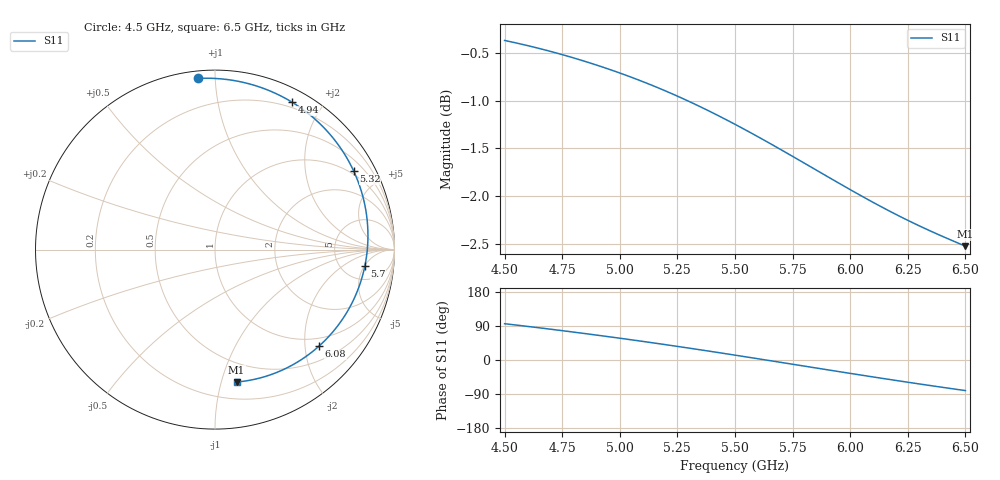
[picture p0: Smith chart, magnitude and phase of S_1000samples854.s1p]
! TOUCHSTONE file generated by CST MICROWAVE STUDIO
! Date and time: Sat Oct 29 14:51:50 2022
! Project name: L.cst
! Parameters = {Di=1.27; Epsilon_r=1.56; InnerDiameter=1.27; Length=2; Lf=10; Lg=60; OuterConductorThickness=0.2921; OuterDiameter=3.6; Wf=3; Wp=41.2; de=1.5; df=6.8; g=0.8; gx=1.64299; gy=4.6767; h=2.34; hf=1.524; px=8.68373; py=11.9519; w=9.7; wx=7.04075; wy=7.27522}
! Header version: 2018
! Port assignment regex: !\s*Touchstone port\s*([0-9]+)\s*=\s*(CST MWS port|CST DS port)\s*([0-9]+|Zmin|Zmax)\s*\(\"(.*)\"\)(\s*mode\s*([0-9]+))?.*
! Touchstone port assignment:
! Touchstone port 1 = CST MWS port 1 ("")
# GHz S DB R 50
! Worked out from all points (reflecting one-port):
!   101 points, 4.5 GHz to 6.5 GHz, reference 50 ohm
!   lowest |S11| = -2.5 dB at 6.5 GHz (marker M1), VSWR 6.92, Z = 16.7 - j56 ohm
!   phase of S11 starts at 96 deg and turns -176 deg over the sweep
!   S11 on the Smith chart (normalised r, x): 4.5 GHz: 0.04, +0.90; 4.94 GHz: 0.14, +1.64; 5.32 GHz: 0.87, +3.60; 5.7 GHz: 8.18, -5.17; 6.08 GHz: 0.80, -2.31; 6.5 GHz: 0.33, -1.12
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4.5  -0.37 95.7
4.58  -0.41 90.1
4.64  -0.45 85.7
4.7  -0.49 81.2
4.76  -0.53 76.7
4.86  -0.60 68.9
4.94  -0.66 62.4
5  -0.71 57.5
5.06  -0.76 52.5
5.12  -0.82 47.3
5.2  -0.90 40.3
5.26  -0.96 35.0
5.32  -1.03 29.6
5.42  -1.15 20.3
5.5  -1.25 12.8
5.6  -1.38 3.3
5.7  -1.52 -6.4
5.76  -1.60 -12.2
5.82  -1.68 -18.0
5.88  -1.77 -23.8
6  -1.93 -35.3
6.08  -2.04 -42.9
6.18  -2.17 -52.2
6.26  -2.27 -59.6
6.32  -2.34 -65.0
6.38  -2.40 -70.3
6.44  -2.47 -75.6
6.5  -2.53 -80.7
